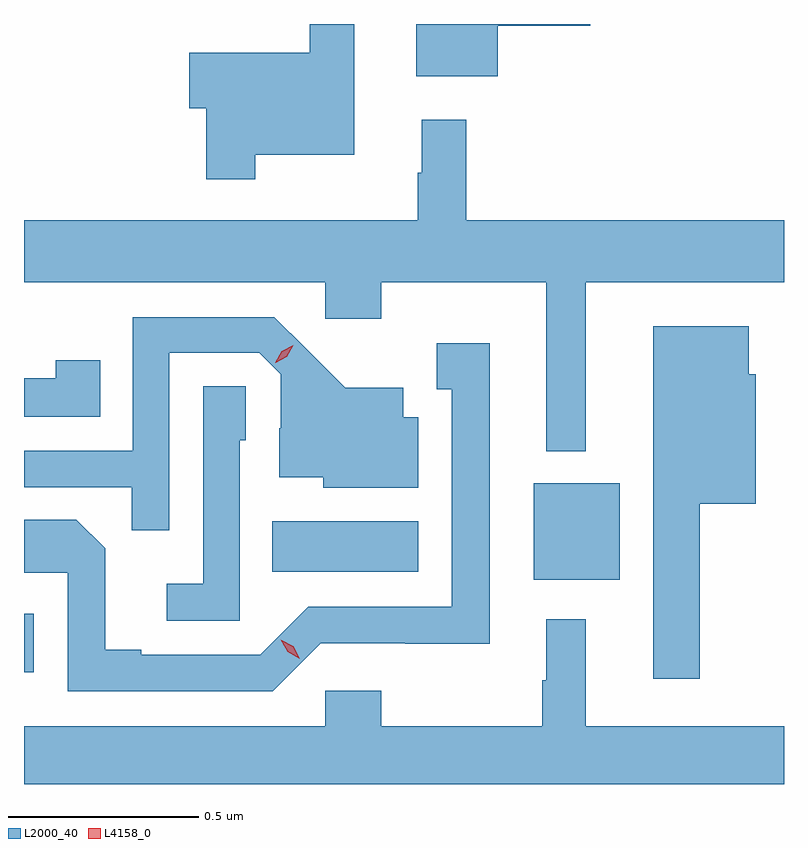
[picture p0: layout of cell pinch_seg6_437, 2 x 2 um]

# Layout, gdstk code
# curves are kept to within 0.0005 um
import gdstk
lib = gdstk.Library(unit=1e-6, precision=1e-09)
def R(c, l, rs):  # rectangles x0, y0, x1, y1
    for r in rs: c.add(gdstk.rectangle(r[:2], r[2:], *l))
def P(c, l, *ps):  # polygons
    for p in ps: c.add(gdstk.Polygon(p, *l))
L2000_40 = (2000, 40)
L4158_0 = (4158, 0)

pinch_seg6_437 = lib.new_cell('pinch_seg6_437')
R(pinch_seg6_437, L2000_40, [(645.095,923.666,645.121,923.82), (646.436,923.909,646.663,924.163), (645.748,923.93,646.132,924.064)])
P(pinch_seg6_437, L2000_40, [(646.342,925.367),(646.585,925.367),(646.585,925.372),(646.127,925.372),(646.127,925.235),(646.342,925.235)],
  [(645.703,925.028),(645.964,925.028),(645.964,925.372),(645.847,925.372),(645.847,925.297),(645.53,925.297),(645.53,925.15),(645.574,925.15),(645.574,924.963),(645.703,924.963)],
  [(646.573,924.692),(647.095,924.692),(647.095,924.856),(646.259,924.856),(646.259,925.12),(646.142,925.12),(646.142,924.98),(646.131,924.98),(646.131,924.856),(645.095,924.856),(645.095,924.692),(645.888,924.692),(645.888,924.597),(646.035,924.597),(646.035,924.692),(646.469,924.692),(646.469,924.248),(646.573,924.248)],
  [(645.477,924.507),(645.714,924.507),(645.771,924.45),(645.771,924.308),(645.767,924.308),(645.767,924.179),(645.882,924.179),(645.882,924.152),(646.132,924.152),(646.132,924.337),(646.093,924.337),(646.093,924.415),(645.941,924.415),(645.754,924.6),(645.381,924.6),(645.381,924.249),(645.095,924.249),(645.095,924.153),(645.379,924.153),(645.379,924.04),(645.477,924.04)],
  [(646.873,924.11),(647.02,924.11),(647.02,924.45),(647.002,924.45),(647.002,924.577),(646.751,924.577),(646.751,923.649),(646.873,923.649)],
  [(645.876,923.742),(646.098,923.742),(646.098,923.741),(646.321,923.741),(646.321,924.532),(646.181,924.532),(646.181,924.411),(646.22,924.411),(646.22,923.838),(645.843,923.838),(645.717,923.712),(645.403,923.712),(645.403,923.725),(645.309,923.725),(645.309,923.992),(645.233,924.068),(645.095,924.068),(645.095,923.928),(645.21,923.928),(645.21,923.616),(645.75,923.616)],
  [(645.296,924.487),(645.178,924.487),(645.178,924.44),(645.095,924.44),(645.095,924.339),(645.296,924.339)],
  [(645.663,924.276),(645.678,924.276),(645.678,924.419),(645.567,924.419),(645.567,923.899),(645.471,923.899),(645.471,923.802),(645.663,923.802)],
  [(647.095,923.524),(646.573,923.524),(646.573,923.806),(646.469,923.806),(646.469,923.645),(646.459,923.645),(646.459,923.524),(646.035,923.524),(646.035,923.617),(645.888,923.617),(645.888,923.524),(645.095,923.524),(645.095,923.372),(647.095,923.372)])
P(pinch_seg6_437, L4158_0, [(645.821,923.701),(645.789,923.72),(645.771,923.752),(645.771,923.752),(645.771,923.752),(645.803,923.734),(645.821,923.702),(645.821,923.701)],
  [(645.756,924.481),(645.756,924.481),(645.773,924.511),(645.804,924.527),(645.804,924.527),(645.804,924.527),(645.787,924.497),(645.757,924.481)])

lib.write_gds('pinch_seg6_437.gds')
